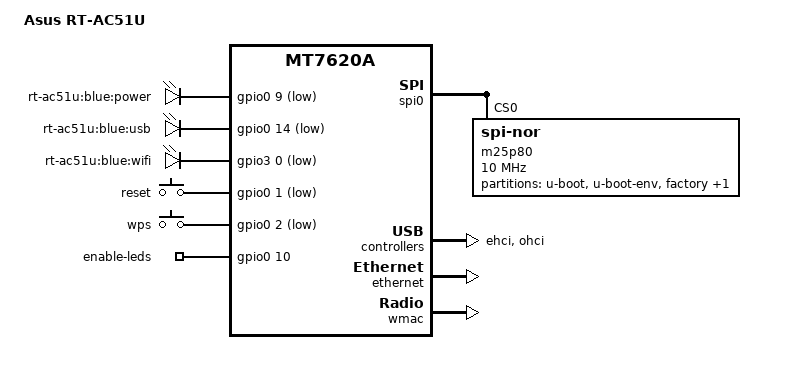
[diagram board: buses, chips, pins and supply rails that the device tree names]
/dts-v1/;

#include "mt7620a.dtsi"

#include <dt-bindings/gpio/gpio.h>
#include <dt-bindings/input/input.h>

/ {
	compatible = "asus,rt-ac51u", "ralink,mt7620a-soc";
	model = "Asus RT-AC51U";

	gpio-leds {
		compatible = "gpio-leds";

		power {
			label = "rt-ac51u:blue:power";
			gpios = <&gpio0 9 GPIO_ACTIVE_LOW>;
		};

		usb {
			label = "rt-ac51u:blue:usb";
			gpios = <&gpio0 14 GPIO_ACTIVE_LOW>;
		};

		wifi {
			label = "rt-ac51u:blue:wifi";
			gpios = <&gpio3 0 GPIO_ACTIVE_LOW>;
		};
	};

	gpio-keys-polled {
		compatible = "gpio-keys-polled";
		#address-cells = <1>;
		#size-cells = <0>;
		poll-interval = <20>;

		reset {
			label = "reset";
			gpios = <&gpio0 1 GPIO_ACTIVE_LOW>;
			linux,code = <KEY_RESTART>;
		};

		wps {
			label = "wps";
			gpios = <&gpio0 2 GPIO_ACTIVE_LOW>;
			linux,code = <KEY_WPS_BUTTON>;
		};
	};

	gpio_export {
		compatible = "gpio-export";
		#size-cells = <0>;

		enable-leds {
			gpio-export,name = "enable-leds";
			gpio-export,output = <1>;
			gpios = <&gpio0 10 GPIO_ACTIVE_HIGH>;
		};
	};
};

&spi0 {
	status = "okay";

	m25p80@0 {
		#address-cells = <1>;
		#size-cells = <1>;
		compatible = "jedec,spi-nor";
		reg = <0>;
		spi-max-frequency = <10000000>;

		partition@0 {
			label = "u-boot";
			reg = <0x0 0x30000>;
			read-only;
		};

		partition@30000 {
			label = "u-boot-env";
			reg = <0x30000 0x10000>;
			read-only;
		};

		factory: partition@40000 {
			label = "factory";
			reg = <0x40000 0x10000>;
			read-only;
		};

		partition@50000 {
			label = "firmware";
			reg = <0x50000 0xfb0000>;
		};
	};
};

&ehci {
	status = "okay";
};

&ohci {
	status = "okay";
};

&gpio3 {
	status = "okay";
};

&ethernet {
	status = "okay";
	mtd-mac-address = <&factory 0x4>;
	mediatek,portmap = "wllll";
};

&wmac {
	ralink,mtd-eeprom = <&factory 0>;
};

&pinctrl {
	state_default: pinctrl0 {
		gpio {
			ralink,group = "i2c", "wled", "uartf";
			ralink,function = "gpio";
		};
	};
};
